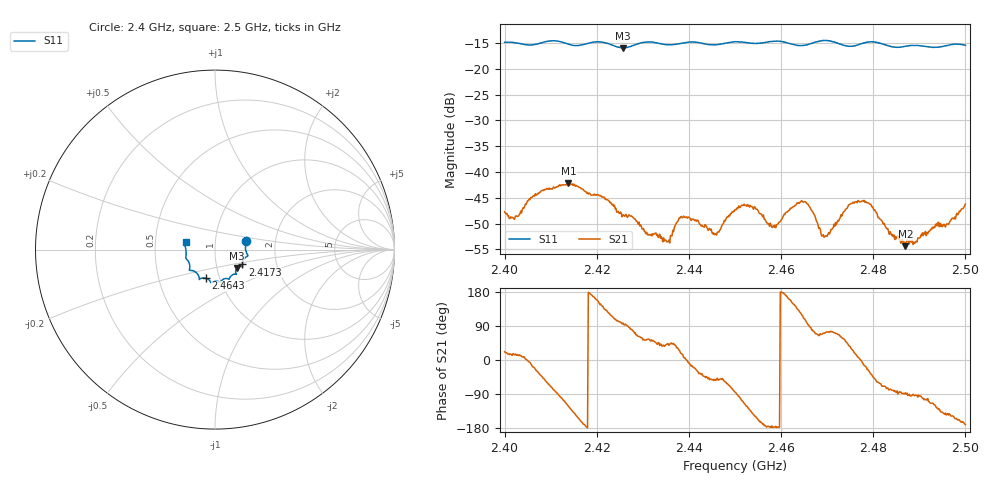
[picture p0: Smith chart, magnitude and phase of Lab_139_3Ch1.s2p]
# Hz S RI R
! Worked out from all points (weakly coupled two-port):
!   601 points, 2.4 GHz to 2.5 GHz, reference 50 ohm
!   highest |S21| = -42.22 dB at 2.4138 GHz (marker M1); lowest = -54.4 dB at 2.487 GHz (marker M2)
!   lowest |S11| = -15.9 dB at 2.4257 GHz (marker M3), VSWR 1.38, Z = 62.4 - j13.1 ohm
!   |S11| at or under -10 dB: start of sweep to end of sweep
!   S12 and S22 are empty: the file has one direction only
!   S11 on the Smith chart (normalised r, x): 2.4 GHz: 1.41, +0.14; 2.4173 GHz: 1.34, -0.23; 2.4643 GHz: 0.86, -0.28; 2.5 GHz: 0.72, +0.06
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2.4e9  0.1737 0.0491  0.00381 0.00153  0 0  0 0
2.4025e9  0.1747 0.0379  0.00366 0.000828  0 0  0 0
2.406167e9  0.1705 -0.0012  0.00554 -0.00186  0 0  0 0
2.413833e9  0.1672 -0.0455  -0.00401 -0.00662  0 0  0 0
2.416667e9  0.1527 -0.075  -0.00656 -0.00203  0 0  0 0
2.417333e9  0.1521 -0.0824  -0.00645 -0.00109  0 0  0 0
2.425667e9  0.1223 -0.1024  -0.000519 0.00378  0 0  0 0
2.433333e9  0.1129 -0.1365  0.00161 0.00167  0 0  0 0
2.435333e9  0.099 -0.1398  0.00154 0.00144  0 0  0 0
2.438667e9  0.0813 -0.1583  0.0035 0.000884  0 0  0 0
2.446e9  0.0471 -0.1646  0.00153 -0.0019  0 0  0 0
2.45e9  0.0296 -0.1806  0.000395 -0.00429  0 0  0 0
2.453833e9  0.0116 -0.1762  -0.00359 -0.00281  0 0  0 0
2.4585e9  -0.0203 -0.1843  -0.00291 -0.000163  0 0  0 0
2.464333e9  -0.0502 -0.1601  -0.0028 0.00439  0 0  0 0
2.466667e9  -0.0761 -0.1595  0.000813 0.00413  0 0  0 0
2.4695e9  -0.0876 -0.1666  0.000757 0.00224  0 0  0 0
2.475e9  -0.1065 -0.1264  0.00398 0.00283  0 0  0 0
2.478e9  -0.1353 -0.1161  0.00515 -0.00131  0 0  0 0
2.483333e9  -0.1404 -0.0895  0.0005 -0.00258  0 0  0 0
2.487e9  -0.1555 -0.0563  0.000104 -0.0019  0 0  0 0
2.5e9  -0.1638 0.0418  -0.00482 -0.000795  0 0  0 0
